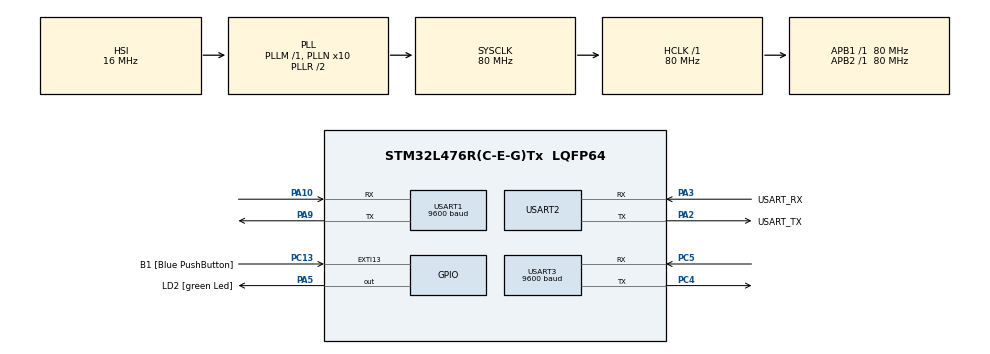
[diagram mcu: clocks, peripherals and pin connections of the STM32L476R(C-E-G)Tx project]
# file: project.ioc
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Mcu.Family=STM32L4
Mcu.Name=STM32L476R(C-E-G)Tx
Mcu.Package=LQFP64
NVIC.PriorityGroup=NVIC_PRIORITYGROUP_4
NVIC.USART1_IRQn=true\:0\:0\:true\:false\:true\:true\:true
NVIC.USART3_IRQn=true\:1\:0\:true\:false\:true\:true\:true
PA10.Mode=Asynchronous
PA10.Signal=USART1_RX
PA13\ (JTMS-SWDIO).GPIO_Label=TMS
PA13\ (JTMS-SWDIO).Mode=Serial_Wire
PA13\ (JTMS-SWDIO).Signal=SYS_JTMS-SWDIO
PA14\ (JTCK-SWCLK).GPIO_Label=TCK
PA14\ (JTCK-SWCLK).Mode=Serial_Wire
PA14\ (JTCK-SWCLK).Signal=SYS_JTCK-SWCLK
PA2.GPIO_Label=USART_TX
PA2.GPIO_Mode=GPIO_MODE_AF_PP
PA2.GPIO_PuPd=GPIO_NOPULL
PA2.GPIO_Speed=GPIO_SPEED_FREQ_VERY_HIGH
PA2.Mode=Asynchronous
PA2.Signal=USART2_TX
PA3.GPIO_Label=USART_RX
PA3.GPIO_Mode=GPIO_MODE_AF_PP
PA3.GPIO_PuPd=GPIO_NOPULL
PA3.GPIO_Speed=GPIO_SPEED_FREQ_VERY_HIGH
PA3.Mode=Asynchronous
PA3.Signal=USART2_RX
PA5.GPIO_Label=LD2 [green Led]
PA5.GPIO_ModeDefaultOutputPP=GPIO_MODE_OUTPUT_PP
PA5.GPIO_PuPd=GPIO_NOPULL
PA5.GPIO_Speed=GPIO_SPEED_FREQ_LOW
PA5.Signal=GPIO_Output
PA9.Mode=Asynchronous
PA9.Signal=USART1_TX
PB3\ (JTDO-TRACESWO).GPIO_Label=SWO
PB3\ (JTDO-TRACESWO).Signal=SYS_JTDO-SWO
PC13.GPIO_Label=B1 [Blue PushButton]
PC13.GPIO_ModeDefaultEXTI=GPIO_MODE_IT_FALLING
PC13.GPIO_PuPd=GPIO_NOPULL
PC13.Signal=GPXTI13
PC14-OSC32_IN\ (PC14).Mode=LSE-External-Oscillator
PC14-OSC32_IN\ (PC14).Signal=RCC_OSC32_IN
PC15-OSC32_OUT\ (PC15).Mode=LSE-External-Oscillator
PC15-OSC32_OUT\ (PC15).Signal=RCC_OSC32_OUT
PC4.Mode=Asynchronous
PC4.Signal=USART3_TX
PC5.Mode=Asynchronous
PC5.Signal=USART3_RX
PH0-OSC_IN\ (PH0).Signal=RCC_OSC_IN
PH1-OSC_OUT\ (PH1).Signal=RCC_OSC_OUT
ProjectManager.HeapSize=0x200
ProjectManager.StackSize=0x400
ProjectManager.TargetToolchain=MDK-ARM V5.27
RCC.ADCFreq_Value=64000000
RCC.AHBFreq_Value=80000000
RCC.APB1Freq_Value=80000000
RCC.APB1TimFreq_Value=80000000
RCC.APB2Freq_Value=80000000
RCC.APB2TimFreq_Value=80000000
RCC.CortexFreq_Value=80000000
RCC.HCLKFreq_Value=80000000
RCC.HSE_VALUE=8000000
RCC.HSI_VALUE=16000000
RCC.MSI_VALUE=4000000
RCC.PLLN=10
RCC.PLLSourceVirtual=RCC_PLLSOURCE_HSI
RCC.PREFETCH_ENABLE=1
RCC.SYSCLKFreq_VALUE=80000000
RCC.SYSCLKSource=RCC_SYSCLKSOURCE_PLLCLK
RCC.USBFreq_Value=64000000
RCC.VCOOutputFreq_Value=160000000
USART1.BaudRate=9600
USART1.VirtualMode-Asynchronous=VM_ASYNC
USART2.VirtualMode-Asynchronous=VM_ASYNC
USART3.BaudRate=9600
USART3.VirtualMode-Asynchronous=VM_ASYNC
board=NUCLEO-L476RG

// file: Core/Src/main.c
/* USER CODE BEGIN Header */
/**
  ******************************************************************************
  * @file           : main.c
  * @brief          : Main program body
  ******************************************************************************
  * @attention
  *
  * <h2><center>&copy; Copyright (c) 2021 STMicroelectronics.
  * All rights reserved.</center></h2>
  *
  * This software component is licensed by ST under BSD 3-Clause license,
  * the "License"; You may not use this file except in compliance with the
  * License. You may obtain a copy of the License at:
  *                        opensource.org/licenses/BSD-3-Clause
  *
  ******************************************************************************
  */
/* USER CODE END Header */
#include "main.h"
#include "usart.h"
#include "gpio.h"

/* USER CODE BEGIN Includes */
#include "GPS.h"
#include "Sim800L.h"
#include "stdio.h"
/* USER CODE END Includes */

/* USER CODE BEGIN PV */
double lat,lng;
char Transfer_cplt2;
char Rx_Buffer2[SIMCOM_DATA_IN_MAX_SIZE];
char http_buffer[120];
/* USER CODE END PV */

void SystemClock_Config(void);

/* USER CODE BEGIN 0 */
void HAL_UART_RxCpltCallback(UART_HandleTypeDef *huart)
{
	if(huart -> Instance == huart3.Instance)
	{
		simcom_receive_data_it();
	}
	if(huart -> Instance == huart1.Instance)
	{
		GPS_CallBack();
	}
}
/* USER CODE END 0 */

int main(void)
{

  /* MCU Configuration--------------------------------------------------------*/

  /* Reset of all peripherals, Initializes the Flash interface and the Systick. */
  HAL_Init();

  /* Configure the system clock */
  SystemClock_Config();

  /* Initialize all configured peripherals */
  MX_GPIO_Init();
  MX_USART1_UART_Init();
  MX_USART2_UART_Init();
  MX_USART3_UART_Init();
  /* USER CODE BEGIN 2 */
	TurnUart();
	GPS_Init();
  /* USER CODE END 2 */

  /* Infinite loop */
  while (1)
  {

    /* USER CODE BEGIN 3 */

		if(Sim_init())
		{
			 if(Sim_Bearer_Configure())
			 {
				 GPS_Process();
				 lat = GPS.GPGGA.LatitudeDecimal;
				 lng = GPS.GPGGA.LongitudeDecimal;
				 sprintf(http_buffer,"{\"user\":\"FxFwEQEA8PceiFOOQ30YubmPMRLcmjHzvo9Ic0Az\",\"latitude\":\"%f\",\"longtitude\":\"%f\",\"time\":\"\%d:%d:%d\"}\r\n",
				 GPS.GPGGA.LatitudeDecimal,GPS.GPGGA.LongitudeDecimal,GPS.GPGGA.VN_hour,GPS.GPGGA.UTC_Min,GPS.GPGGA.UTC_Sec);
				 if(Sim_HTTP_Post(http_buffer))
				 {
					 Sim_HTTPTERM();
				 }
				 Sim_Bearer_Dis();
			 }
		}
  }
  /* USER CODE END 3 */
}

void SystemClock_Config(void)
{
  RCC_OscInitTypeDef RCC_OscInitStruct = {0};
  RCC_ClkInitTypeDef RCC_ClkInitStruct = {0};
  RCC_PeriphCLKInitTypeDef PeriphClkInit = {0};

  /** Initializes the RCC Oscillators according to the specified parameters
  * in the RCC_OscInitTypeDef structure.
  */
  RCC_OscInitStruct.OscillatorType = RCC_OSCILLATORTYPE_HSI;
  RCC_OscInitStruct.HSIState = RCC_HSI_ON;
  RCC_OscInitStruct.HSICalibrationValue = RCC_HSICALIBRATION_DEFAULT;
  RCC_OscInitStruct.PLL.PLLState = RCC_PLL_ON;
  RCC_OscInitStruct.PLL.PLLSource = RCC_PLLSOURCE_HSI;
  RCC_OscInitStruct.PLL.PLLM = 1;
  RCC_OscInitStruct.PLL.PLLN = 10;
  RCC_OscInitStruct.PLL.PLLP = RCC_PLLP_DIV7;
  RCC_OscInitStruct.PLL.PLLQ = RCC_PLLQ_DIV2;
  RCC_OscInitStruct.PLL.PLLR = RCC_PLLR_DIV2;
  if (HAL_RCC_OscConfig(&RCC_OscInitStruct) != HAL_OK)
  {
    Error_Handler();
  }
  /** Initializes the CPU, AHB and APB buses clocks
  */
  RCC_ClkInitStruct.ClockType = RCC_CLOCKTYPE_HCLK|RCC_CLOCKTYPE_SYSCLK
                              |RCC_CLOCKTYPE_PCLK1|RCC_CLOCKTYPE_PCLK2;
  RCC_ClkInitStruct.SYSCLKSource = RCC_SYSCLKSOURCE_PLLCLK;
  RCC_ClkInitStruct.AHBCLKDivider = RCC_SYSCLK_DIV1;
  RCC_ClkInitStruct.APB1CLKDivider = RCC_HCLK_DIV1;
  RCC_ClkInitStruct.APB2CLKDivider = RCC_HCLK_DIV1;

  if (HAL_RCC_ClockConfig(&RCC_ClkInitStruct, FLASH_LATENCY_4) != HAL_OK)
  {
    Error_Handler();
  }
  PeriphClkInit.PeriphClockSelection = RCC_PERIPHCLK_USART1|RCC_PERIPHCLK_USART2
                              |RCC_PERIPHCLK_USART3;
  PeriphClkInit.Usart1ClockSelection = RCC_USART1CLKSOURCE_PCLK2;
  PeriphClkInit.Usart2ClockSelection = RCC_USART2CLKSOURCE_PCLK1;
  PeriphClkInit.Usart3ClockSelection = RCC_USART3CLKSOURCE_PCLK1;
  if (HAL_RCCEx_PeriphCLKConfig(&PeriphClkInit) != HAL_OK)
  {
    Error_Handler();
  }
  /** Configure the main internal regulator output voltage
  */
  if (HAL_PWREx_ControlVoltageScaling(PWR_REGULATOR_VOLTAGE_SCALE1) != HAL_OK)
  {
    Error_Handler();
  }
}

void Error_Handler(void)
{
  __disable_irq();
  while (1)
  {
  }
}

/************************ (C) COPYRIGHT STMicroelectronics *****END OF FILE****/
